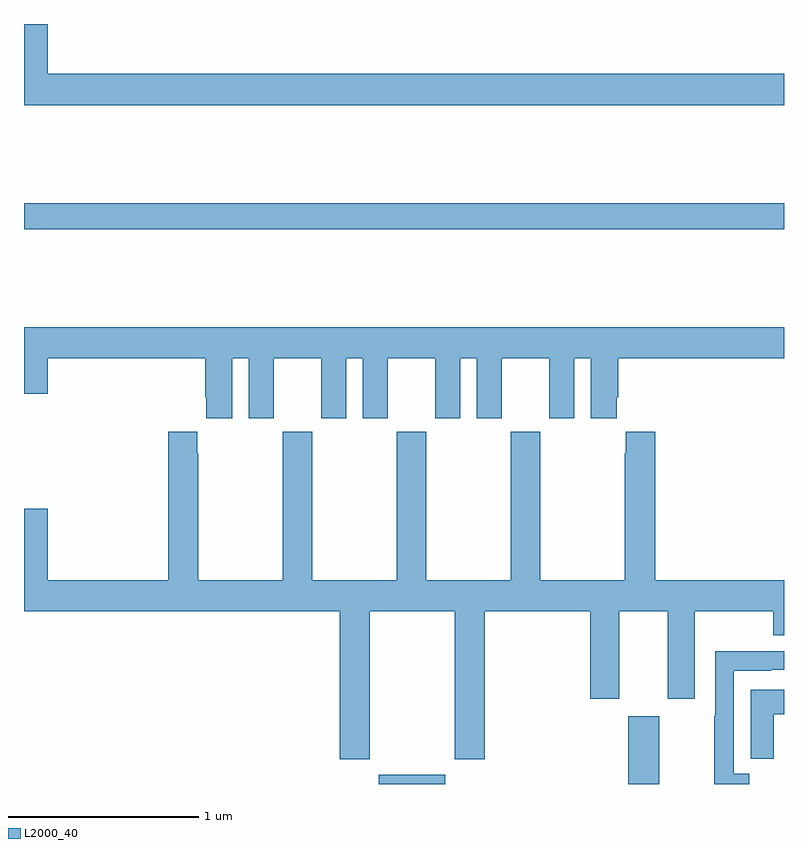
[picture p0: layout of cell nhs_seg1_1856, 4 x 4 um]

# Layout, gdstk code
import gdstk
lib = gdstk.Library(unit=1e-6, precision=1e-09)
def R(c, l, rs):  # rectangles x0, y0, x1, y1
    for r in rs: c.add(gdstk.rectangle(r[:2], r[2:], *l))
def P(c, l, *ps):  # polygons
    for p in ps: c.add(gdstk.Polygon(p, *l))
L2000_40 = (2000, 40)

nhs_seg1_1856 = lib.new_cell('nhs_seg1_1856')
R(nhs_seg1_1856, L2000_40, [(214.868,508.199,215.218,508.249), (216.179,508.199,216.343,508.555), (213,511.12,217,511.256)])
P(nhs_seg1_1856, L2000_40, [(217,511.936),(213.124,511.936),(213.124,512.199),(213,512.199),(213,511.772),(217,511.772)],
  [(213,510.252),(213.124,510.252),(213.124,510.44),(213.953,510.44),(213.953,510.235),(213.959,510.235),(213.959,510.123),(214.096,510.123),(214.096,510.44),(214.184,510.44),(214.184,510.123),(214.315,510.123),(214.315,510.44),(214.565,510.44),(214.565,510.123),(214.696,510.123),(214.696,510.44),(214.784,510.44),(214.784,510.123),(214.915,510.123),(214.915,510.44),(215.165,510.44),(215.165,510.123),(215.296,510.123),(215.296,510.44),(215.384,510.44),(215.384,510.123),(215.515,510.123),(215.515,510.44),(215.765,510.44),(215.765,510.123),(215.896,510.123),(215.896,510.44),(215.984,510.44),(215.984,510.123),(216.121,510.123),(216.121,510.235),(216.128,510.235),(216.128,510.44),(217,510.44),(217,510.604),(213,510.604)],
  [(214.821,509.108),(215.266,509.108),(215.266,508.329),(215.426,508.329),(215.426,509.108),(215.981,509.108),(215.981,508.647),(216.133,508.647),(216.133,509.108),(216.389,509.108),(216.389,508.647),(216.529,508.647),(216.529,509.108),(216.944,509.108),(216.944,508.982),(217,508.982),(217,509.272),(216.323,509.272),(216.323,510.052),(216.167,510.052),(216.167,509.939),(216.163,509.939),(216.163,509.272),(215.718,509.272),(215.718,510.052),(215.563,510.052),(215.563,509.272),(215.118,509.272),(215.118,510.052),(214.963,510.052),(214.963,509.272),(214.518,509.272),(214.518,510.052),(214.363,510.052),(214.363,509.272),(213.918,509.272),(213.918,509.939),(213.913,509.939),(213.913,510.052),(213.758,510.052),(213.758,509.272),(213.124,509.272),(213.124,509.647),(213,509.647),(213,509.108),(214.661,509.108),(214.661,508.329),(214.821,508.329)],
  [(216.818,508.252),(216.735,508.252),(216.735,508.796),(216.932,508.796),(216.932,508.8),(217,508.8),(217,508.897),(216.639,508.897),(216.639,508.559),(216.634,508.559),(216.634,508.199),(216.818,508.199)],
  [(216.946,508.565),(217,508.565),(217,508.694),(216.824,508.694),(216.824,508.333),(216.946,508.333)])

lib.write_gds('nhs_seg1_1856.gds')
